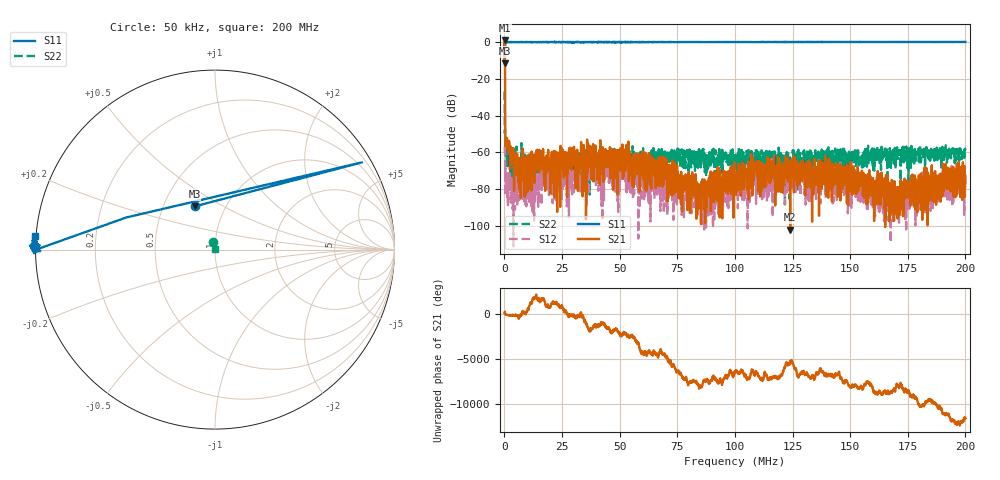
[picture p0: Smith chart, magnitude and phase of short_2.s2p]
! 26-Feb-26 2:14:50 PM
! E:\VNA_MEASUREMENTS\CAL_ENDS\SHORT_2.S2P
! CHANNEL.1
! TR.MEASUREMENT
! CORRECTED.DATA
# GHZ S RI R 50.0
! FREQ.GHZ  S11RE  S11IM  S21RE  S21IM  S12RE  S12IM  S22RE  S22IM
!; PortSelection: Port_12
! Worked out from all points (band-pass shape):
!   2000 points, 50 kHz to 200 MHz, reference 50 ohm
!   highest |S21| = 0.89 dB at 150 kHz (marker M1); lowest = -102.1 dB at 124 MHz (marker M2)
!   |S21| within 3 dB of the highest: 122 kHz to 168.2 kHz (46.13 kHz wide, 31.8 % of centre)
!   lowest |S11| = -11.5 dB at 50 kHz (marker M3), VSWR 1.73, Z = 35.8 + j18.5 ohm
!   |S11| at or under -10 dB: start of sweep to 63.52 kHz
!   |S22| runs from -88.3 to -26.9 dB; largest |S21 - S12| = 1.1
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5e-05  -0.1141 0.2404  0.2016 0.2519  0.00114 -0.000806  -0.0122 0.0436
0.000150025  0.8196 0.4862  -1.003 -0.4705  0.000512 0.000914  0.00178 -0.00284
0.001350325  -0.9995 0.00948  -0.00163 -0.000273  9.69e-05 2.5e-06  -0.000564 -0.00155
0.006651651  -1 -0.00132  -0.00019 4.97e-05  5.12e-05 -0.00013  -0.000105 0.000227
0.01575393  -0.997 -0.00995  0.000133 -0.000318  0.000104 -6.15e-05  -8.58e-05 -0.000198
0.02075518  -1.002 0.0105  -0.000134 0.000196  4.69e-05 0.000107  0.00014 1.55e-05
0.0252563  -0.9956 0.00152  -0.000221 -0.00114  -5.59e-05 -0.000416  0.000561 0.000568
0.03345835  -1.001 0.00802  -0.000384 -0.000204  0.000244 -0.000212  0.000691 -0.000252
0.03475868  -0.993 0.0115  -0.00032 -0.00102  0.000443 0.000271  0.00076 0.000113
0.0368592  -0.9974 0.0148  0.000446 -0.00063  2.1e-06 0.00037  1.34e-05 -8.44e-05
0.05286321  -1.011 0.0285  -0.000844 -0.000508  0.000104 -0.000181  0.000671 0.000589
0.05586396  -0.9941 0.0201  -0.000269 9.31e-05  4.67e-05 -0.000376  0.000577 0.000315
0.06676668  -1.006 0.0267  -0.000306 -0.000358  -9.81e-05 0.000193  0.000717 0.000599
0.08417104  -1.003 0.0266  9.7e-06 2.8e-05  -1.85e-05 -8.72e-05  0.000326 0.000633
0.100075  -1.005 0.0331  0.000199 5.07e-05  0.000149 5.95e-05  0.000525 0.000141
0.1087772  -1.008 0.0397  -0.000315 0.000195  0.000237 -0.000189  0.000425 0.000454
0.111878  -1.013 0.0433  -0.000413 3.61e-05  1.23e-05 0.000111  0.000189 0.00025
0.123981  -0.9999 0.045  -5e-06 6.1e-06  0.00014 0.00018  0.000297 0.00034
0.1333833  -1.003 0.0417  -0.000325 -0.000214  -4.91e-05 -4.09e-05  0.000437 0.000912
0.1383846  -1.007 0.0458  0.00017 0.000195  0.000399 -7.05e-05  0.000362 0.000597
0.1666917  -1.006 0.0577  7.53e-05 9.13e-05  -3.51e-05 -2.12e-05  0.000473 0.000894
0.2  -1.005 0.0731  -0.000114 -0.0002  0.00019 5.56e-05  0.000402 0.00112
